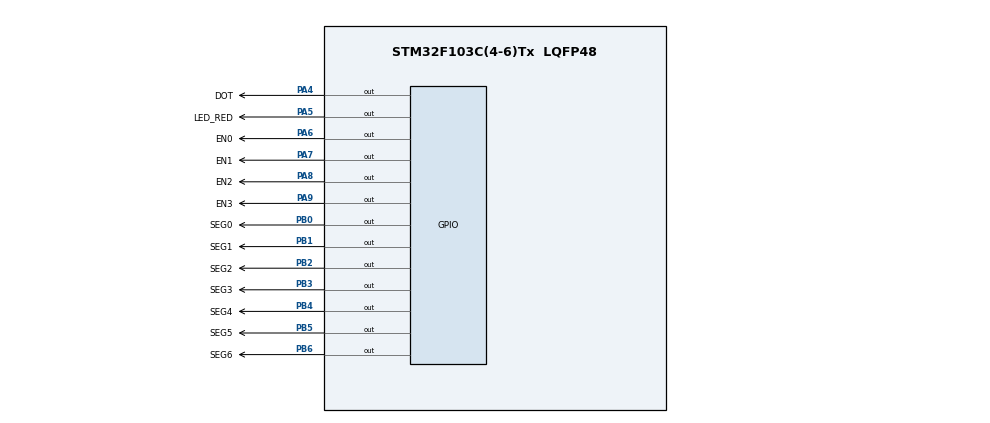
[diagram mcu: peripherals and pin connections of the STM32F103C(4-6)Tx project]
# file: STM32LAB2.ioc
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Mcu.Family=STM32F1
Mcu.Name=STM32F103C(4-6)Tx
Mcu.Package=LQFP48
NVIC.PriorityGroup=NVIC_PRIORITYGROUP_4
NVIC.TIM2_IRQn=true\:0\:0\:false\:false\:true\:true\:true
PA13.Mode=Serial_Wire
PA13.Signal=SYS_JTMS-SWDIO
PA14.Mode=Serial_Wire
PA14.Signal=SYS_JTCK-SWCLK
PA4.GPIO_Label=DOT
PA4.Signal=GPIO_Output
PA5.GPIO_Label=LED_RED
PA5.Signal=GPIO_Output
PA6.GPIO_Label=EN0
PA6.Signal=GPIO_Output
PA7.GPIO_Label=EN1
PA7.Signal=GPIO_Output
PA8.GPIO_Label=EN2
PA8.Signal=GPIO_Output
PA9.GPIO_Label=EN3
PA9.Signal=GPIO_Output
PB0.GPIO_Label=SEG0
PB0.Signal=GPIO_Output
PB1.GPIO_Label=SEG1
PB1.Signal=GPIO_Output
PB2.GPIO_Label=SEG2
PB2.Signal=GPIO_Output
PB3.GPIO_Label=SEG3
PB3.Signal=GPIO_Output
PB4.GPIO_Label=SEG4
PB4.Signal=GPIO_Output
PB5.GPIO_Label=SEG5
PB5.Signal=GPIO_Output
PB6.GPIO_Label=SEG6
PB6.Signal=GPIO_Output
ProjectManager.HeapSize=0x200
ProjectManager.StackSize=0x400
ProjectManager.TargetToolchain=STM32CubeIDE
RCC.APB1Freq_Value=8000000
RCC.APB2Freq_Value=8000000
TIM2.Period=9
TIM2.Prescaler=7999
VP_TIM2_VS_ClockSourceINT.Mode=Internal
board=custom

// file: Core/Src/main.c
/* USER CODE BEGIN Header */
/**
  ******************************************************************************
  * @file           : main.c
  * @brief          : Main program body
  ******************************************************************************
  * @attention
  *
  * <h2><center>&copy; Copyright (c) 2023 STMicroelectronics.
  * All rights reserved.</center></h2>
  *
  * This software component is licensed by ST under BSD 3-Clause license,
  * the "License"; You may not use this file except in compliance with the
  * License. You may obtain a copy of the License at:
  *                        opensource.org/licenses/BSD-3-Clause
  *
  ******************************************************************************
  */
/* USER CODE END Header */
#include "main.h"

/* USER CODE BEGIN Includes */
#include "software_timer.h"
/* USER CODE END Includes */

TIM_HandleTypeDef htim2;

void SystemClock_Config(void);
static void MX_GPIO_Init(void);
static void MX_TIM2_Init(void);

/* USER CODE BEGIN 0 */
void display7SEG (int num)
{
	switch (num)
	{
	case 0:
				HAL_GPIO_WritePin(SEG0_GPIO_Port, SEG0_Pin, RESET);
				HAL_GPIO_WritePin(SEG1_GPIO_Port, SEG1_Pin, RESET);
				HAL_GPIO_WritePin(SEG2_GPIO_Port, SEG2_Pin, RESET);
				HAL_GPIO_WritePin(SEG3_GPIO_Port, SEG3_Pin, RESET);
				HAL_GPIO_WritePin(SEG4_GPIO_Port, SEG4_Pin, RESET);
				HAL_GPIO_WritePin(SEG5_GPIO_Port, SEG5_Pin, RESET);
				HAL_GPIO_WritePin(SEG6_GPIO_Port, SEG6_Pin, SET);
		break;
	case 1:
				HAL_GPIO_WritePin(SEG0_GPIO_Port, SEG0_Pin, SET);
				HAL_GPIO_WritePin(SEG1_GPIO_Port, SEG1_Pin, RESET);
				HAL_GPIO_WritePin(SEG2_GPIO_Port, SEG2_Pin, RESET);
				HAL_GPIO_WritePin(SEG3_GPIO_Port, SEG3_Pin, SET);
				HAL_GPIO_WritePin(SEG4_GPIO_Port, SEG4_Pin, SET);
				HAL_GPIO_WritePin(SEG5_GPIO_Port, SEG5_Pin, SET);
				HAL_GPIO_WritePin(SEG6_GPIO_Port, SEG6_Pin, SET);
			break;
	case 2:
				HAL_GPIO_WritePin(SEG0_GPIO_Port, SEG0_Pin, RESET);
				HAL_GPIO_WritePin(SEG1_GPIO_Port, SEG1_Pin, RESET);
				HAL_GPIO_WritePin(SEG2_GPIO_Port, SEG2_Pin, SET);
				HAL_GPIO_WritePin(SEG3_GPIO_Port, SEG3_Pin, RESET);
				HAL_GPIO_WritePin(SEG4_GPIO_Port, SEG4_Pin, RESET);
				HAL_GPIO_WritePin(SEG5_GPIO_Port, SEG5_Pin, SET);
				HAL_GPIO_WritePin(SEG6_GPIO_Port, SEG6_Pin, RESET);
		break;
	case 3:
				HAL_GPIO_WritePin(SEG0_GPIO_Port, SEG0_Pin, RESET);
				HAL_GPIO_WritePin(SEG1_GPIO_Port, SEG1_Pin, RESET);
				HAL_GPIO_WritePin(SEG2_GPIO_Port, SEG2_Pin, RESET);
				HAL_GPIO_WritePin(SEG3_GPIO_Port, SEG3_Pin, RESET);
				HAL_GPIO_WritePin(SEG4_GPIO_Port, SEG4_Pin, SET);
				HAL_GPIO_WritePin(SEG5_GPIO_Port, SEG5_Pin, SET);
				HAL_GPIO_WritePin(SEG6_GPIO_Port, SEG6_Pin, RESET);
		break;
	case 4:
				HAL_GPIO_WritePin(SEG0_GPIO_Port, SEG0_Pin, SET);
				HAL_GPIO_WritePin(SEG1_GPIO_Port, SEG1_Pin, RESET);
				HAL_GPIO_WritePin(SEG2_GPIO_Port, SEG2_Pin, RESET);
				HAL_GPIO_WritePin(SEG3_GPIO_Port, SEG3_Pin, SET);
				HAL_GPIO_WritePin(SEG4_GPIO_Port, SEG4_Pin, SET);
				HAL_GPIO_WritePin(SEG5_GPIO_Port, SEG5_Pin, RESET);
				HAL_GPIO_WritePin(SEG6_GPIO_Port, SEG6_Pin, RESET);
		break;
	case 5:
				HAL_GPIO_WritePin(SEG0_GPIO_Port, SEG0_Pin, RESET);
				HAL_GPIO_WritePin(SEG1_GPIO_Port, SEG1_Pin, SET);
				HAL_GPIO_WritePin(SEG2_GPIO_Port, SEG2_Pin, RESET);
				HAL_GPIO_WritePin(SEG3_GPIO_Port, SEG3_Pin, RESET);
				HAL_GPIO_WritePin(SEG4_GPIO_Port, SEG4_Pin, SET);
				HAL_GPIO_WritePin(SEG5_GPIO_Port, SEG5_Pin, RESET);
				HAL_GPIO_WritePin(SEG6_GPIO_Port, SEG6_Pin, RESET);
		break;
	case 6:
				HAL_GPIO_WritePin(SEG0_GPIO_Port, SEG0_Pin, RESET);
				HAL_GPIO_WritePin(SEG1_GPIO_Port, SEG1_Pin, SET);
				HAL_GPIO_WritePin(SEG2_GPIO_Port, SEG2_Pin, RESET);
				HAL_GPIO_WritePin(SEG3_GPIO_Port, SEG3_Pin, RESET);
				HAL_GPIO_WritePin(SEG4_GPIO_Port, SEG4_Pin, RESET);
				HAL_GPIO_WritePin(SEG5_GPIO_Port, SEG5_Pin, RESET);
				HAL_GPIO_WritePin(SEG6_GPIO_Port, SEG6_Pin, RESET);
		break;
	case 7:
				HAL_GPIO_WritePin(SEG0_GPIO_Port, SEG0_Pin, RESET);
				HAL_GPIO_WritePin(SEG1_GPIO_Port, SEG1_Pin, RESET);
				HAL_GPIO_WritePin(SEG2_GPIO_Port, SEG2_Pin, RESET);
				HAL_GPIO_WritePin(SEG3_GPIO_Port, SEG3_Pin, SET);
				HAL_GPIO_WritePin(SEG4_GPIO_Port, SEG4_Pin, SET);
				HAL_GPIO_WritePin(SEG5_GPIO_Port, SEG5_Pin, SET);
				HAL_GPIO_WritePin(SEG6_GPIO_Port, SEG6_Pin, SET);
		break;
	case 8:
				HAL_GPIO_WritePin(SEG0_GPIO_Port, SEG0_Pin, RESET);
				HAL_GPIO_WritePin(SEG1_GPIO_Port, SEG1_Pin, RESET);
				HAL_GPIO_WritePin(SEG2_GPIO_Port, SEG2_Pin, RESET);
				HAL_GPIO_WritePin(SEG3_GPIO_Port, SEG3_Pin, RESET);
				HAL_GPIO_WritePin(SEG4_GPIO_Port, SEG4_Pin, RESET);
				HAL_GPIO_WritePin(SEG5_GPIO_Port, SEG5_Pin, RESET);
				HAL_GPIO_WritePin(SEG6_GPIO_Port, SEG6_Pin, RESET);
		break;
	case 9:
				HAL_GPIO_WritePin(SEG0_GPIO_Port, SEG0_Pin, RESET);
				HAL_GPIO_WritePin(SEG1_GPIO_Port, SEG1_Pin, RESET);
				HAL_GPIO_WritePin(SEG2_GPIO_Port, SEG2_Pin, RESET);
				HAL_GPIO_WritePin(SEG3_GPIO_Port, SEG3_Pin, RESET);
				HAL_GPIO_WritePin(SEG4_GPIO_Port, SEG4_Pin, SET);
				HAL_GPIO_WritePin(SEG5_GPIO_Port, SEG5_Pin, RESET);
				HAL_GPIO_WritePin(SEG6_GPIO_Port, SEG6_Pin, RESET);
		break;
	default:
		break;
	}
}

const int MAX_LED = 4;
int index_led = 0;
int led_buffer[4] = {1,2,3,4};
void update7SEG (int index){
	switch (index){
		case 0: display7SEG(led_buffer[index]);
			break;
		case 1: display7SEG(led_buffer[index]);
			break;
		case 2: display7SEG(led_buffer[index]);
			break;
		case 3: display7SEG(led_buffer[index]);
			break;
	}
}

void updateClockBuffer (int hour, int minute){
	led_buffer[0] = hour/10;
	led_buffer[1] = hour%10;
	led_buffer[2] = minute/10;
	led_buffer[3] = minute%10;
}
/* USER CODE END 0 */

int main(void)
{

  /* MCU Configuration--------------------------------------------------------*/

  /* Reset of all peripherals, Initializes the Flash interface and the Systick. */
  HAL_Init();

  /* Configure the system clock */
  SystemClock_Config();

  /* Initialize all configured peripherals */
  MX_GPIO_Init();
  MX_TIM2_Init();
  /* USER CODE BEGIN 2 */
  HAL_TIM_Base_Start_IT(&htim2);
  /* USER CODE END 2 */

  /* Infinite loop */
  /* USER CODE BEGIN WHILE */
  int hour = 15, minute = 8, second = 50;
  updateClockBuffer (hour,minute);
setTimer1(25);
setTimer2(100);
setTimer3(100);
  while (1)
  {
	  if(timer3_flag == 1){
	  setTimer3(100);
	  //TODO
	  	  second ++;
	  	  	if ( second >= 60) {
	  	  second = 0;
	  	  minute ++;
	  	  }
	  	  	if( minute >= 60) {
	  	   minute = 0;
	  	   hour ++;
	  	  }
	  	  	if( hour >=24){
	  	   hour = 0;
	  	  }
	  	   updateClockBuffer (hour,minute);
	  }
		if (timer1_flag == 1){
			setTimer1(25);
			if(index_led==0) {
				 HAL_GPIO_WritePin(EN0_GPIO_Port, EN0_Pin, RESET);
				 HAL_GPIO_WritePin(EN1_GPIO_Port, EN1_Pin, SET);
				 HAL_GPIO_WritePin(EN2_GPIO_Port, EN2_Pin, SET);
				 HAL_GPIO_WritePin(EN3_GPIO_Port, EN3_Pin, SET);
			}
			if(index_led==1) {
				 HAL_GPIO_WritePin(EN0_GPIO_Port, EN0_Pin, SET);
				 HAL_GPIO_WritePin(EN1_GPIO_Port, EN1_Pin, RESET);
				 HAL_GPIO_WritePin(EN2_GPIO_Port, EN2_Pin, SET);
				 HAL_GPIO_WritePin(EN3_GPIO_Port, EN3_Pin, SET);
			}
			if(index_led==2) {
				 HAL_GPIO_WritePin(EN0_GPIO_Port, EN0_Pin, SET);
				 HAL_GPIO_WritePin(EN1_GPIO_Port, EN1_Pin, SET);
				 HAL_GPIO_WritePin(EN2_GPIO_Port, EN2_Pin, RESET);
				 HAL_GPIO_WritePin(EN3_GPIO_Port, EN3_Pin, SET);
			}
			if(index_led==3) {
				 HAL_GPIO_WritePin(EN0_GPIO_Port, EN0_Pin, SET);
				 HAL_GPIO_WritePin(EN1_GPIO_Port, EN1_Pin, SET);
				 HAL_GPIO_WritePin(EN2_GPIO_Port, EN2_Pin, SET);
				 HAL_GPIO_WritePin(EN3_GPIO_Port, EN3_Pin, RESET);
			}
			update7SEG(index_led++);
				if(index_led>3) index_led =0;
		}
		if (timer2_flag==1){
			setTimer2(100);
			HAL_GPIO_TogglePin(DOT_GPIO_Port,DOT_Pin);
		}
	  /* USER CODE END WHILE */
 }
}
void SystemClock_Config(void)
{
  RCC_OscInitTypeDef RCC_OscInitStruct = {0};
  RCC_ClkInitTypeDef RCC_ClkInitStruct = {0};

  /** Initializes the RCC Oscillators according to the specified parameters
  * in the RCC_OscInitTypeDef structure.
  */
  RCC_OscInitStruct.OscillatorType = RCC_OSCILLATORTYPE_HSI;
  RCC_OscInitStruct.HSIState = RCC_HSI_ON;
  RCC_OscInitStruct.HSICalibrationValue = RCC_HSICALIBRATION_DEFAULT;
  RCC_OscInitStruct.PLL.PLLState = RCC_PLL_NONE;
  if (HAL_RCC_OscConfig(&RCC_OscInitStruct) != HAL_OK)
  {
    Error_Handler();
  }
  /** Initializes the CPU, AHB and APB buses clocks
  */
  RCC_ClkInitStruct.ClockType = RCC_CLOCKTYPE_HCLK|RCC_CLOCKTYPE_SYSCLK
                              |RCC_CLOCKTYPE_PCLK1|RCC_CLOCKTYPE_PCLK2;
  RCC_ClkInitStruct.SYSCLKSource = RCC_SYSCLKSOURCE_HSI;
  RCC_ClkInitStruct.AHBCLKDivider = RCC_SYSCLK_DIV1;
  RCC_ClkInitStruct.APB1CLKDivider = RCC_HCLK_DIV1;
  RCC_ClkInitStruct.APB2CLKDivider = RCC_HCLK_DIV1;

  if (HAL_RCC_ClockConfig(&RCC_ClkInitStruct, FLASH_LATENCY_0) != HAL_OK)
  {
    Error_Handler();
  }
}

static void MX_TIM2_Init(void)
{

  TIM_ClockConfigTypeDef sClockSourceConfig = {0};
  TIM_MasterConfigTypeDef sMasterConfig = {0};

  htim2.Instance = TIM2;
  htim2.Init.Prescaler = 7999;
  htim2.Init.CounterMode = TIM_COUNTERMODE_UP;
  htim2.Init.Period = 9;
  htim2.Init.ClockDivision = TIM_CLOCKDIVISION_DIV1;
  htim2.Init.AutoReloadPreload = TIM_AUTORELOAD_PRELOAD_DISABLE;
  if (HAL_TIM_Base_Init(&htim2) != HAL_OK)
  {
    Error_Handler();
  }
  sClockSourceConfig.ClockSource = TIM_CLOCKSOURCE_INTERNAL;
  if (HAL_TIM_ConfigClockSource(&htim2, &sClockSourceConfig) != HAL_OK)
  {
    Error_Handler();
  }
  sMasterConfig.MasterOutputTrigger = TIM_TRGO_RESET;
  sMasterConfig.MasterSlaveMode = TIM_MASTERSLAVEMODE_DISABLE;
  if (HAL_TIMEx_MasterConfigSynchronization(&htim2, &sMasterConfig) != HAL_OK)
  {
    Error_Handler();
  }

}

static void MX_GPIO_Init(void)
{
  GPIO_InitTypeDef GPIO_InitStruct = {0};

  /* GPIO Ports Clock Enable */
  __HAL_RCC_GPIOA_CLK_ENABLE();
  __HAL_RCC_GPIOB_CLK_ENABLE();

  /*Configure GPIO pin Output Level */
  HAL_GPIO_WritePin(GPIOA, DOT_Pin|LED_RED_Pin|EN0_Pin|EN1_Pin
                          |EN2_Pin|EN3_Pin, GPIO_PIN_RESET);

  /*Configure GPIO pin Output Level */
  HAL_GPIO_WritePin(GPIOB, SEG0_Pin|SEG1_Pin|SEG2_Pin|SEG3_Pin
                          |SEG4_Pin|SEG5_Pin|SEG6_Pin, GPIO_PIN_RESET);

  /*Configure GPIO pins : DOT_Pin LED_RED_Pin EN0_Pin EN1_Pin
                           EN2_Pin EN3_Pin */
  GPIO_InitStruct.Pin = DOT_Pin|LED_RED_Pin|EN0_Pin|EN1_Pin
                          |EN2_Pin|EN3_Pin;
  GPIO_InitStruct.Mode = GPIO_MODE_OUTPUT_PP;
  GPIO_InitStruct.Pull = GPIO_NOPULL;
  GPIO_InitStruct.Speed = GPIO_SPEED_FREQ_LOW;
  HAL_GPIO_Init(GPIOA, &GPIO_InitStruct);

  /*Configure GPIO pins : SEG0_Pin SEG1_Pin SEG2_Pin SEG3_Pin
                           SEG4_Pin SEG5_Pin SEG6_Pin */
  GPIO_InitStruct.Pin = SEG0_Pin|SEG1_Pin|SEG2_Pin|SEG3_Pin
                          |SEG4_Pin|SEG5_Pin|SEG6_Pin;
  GPIO_InitStruct.Mode = GPIO_MODE_OUTPUT_PP;
  GPIO_InitStruct.Pull = GPIO_NOPULL;
  GPIO_InitStruct.Speed = GPIO_SPEED_FREQ_LOW;
  HAL_GPIO_Init(GPIOB, &GPIO_InitStruct);

}

/* USER CODE BEGIN 4 */
void HAL_TIM_PeriodElapsedCallback(TIM_HandleTypeDef *htim){
	timerRun();
}

/* USER CODE END 4 */

void Error_Handler(void)
{
  __disable_irq();
  while (1)
  {
  }
}

/************************ (C) COPYRIGHT STMicroelectronics *****END OF FILE****/
